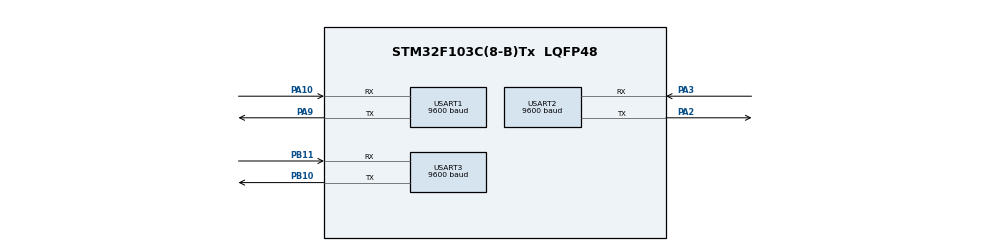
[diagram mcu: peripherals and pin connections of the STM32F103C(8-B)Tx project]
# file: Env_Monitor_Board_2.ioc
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Mcu.Family=STM32F1
Mcu.Name=STM32F103C(8-B)Tx
Mcu.Package=LQFP48
NVIC.PriorityGroup=NVIC_PRIORITYGROUP_4
NVIC.USART1_IRQn=true\:0\:0\:false\:false\:true\:true\:true\:true
NVIC.USART2_IRQn=true\:0\:0\:false\:false\:true\:true\:true\:true
NVIC.USART3_IRQn=true\:0\:0\:false\:false\:true\:true\:true\:true
PA10.Mode=Asynchronous
PA10.Signal=USART1_RX
PA2.Mode=Asynchronous
PA2.Signal=USART2_TX
PA3.Mode=Asynchronous
PA3.Signal=USART2_RX
PA9.Mode=Asynchronous
PA9.Signal=USART1_TX
PB10.Mode=Asynchronous
PB10.Signal=USART3_TX
PB11.Mode=Asynchronous
PB11.Signal=USART3_RX
ProjectManager.HeapSize=0x200
ProjectManager.StackSize=0x400
ProjectManager.TargetToolchain=STM32CubeIDE
RCC.APB1Freq_Value=8000000
RCC.APB2Freq_Value=8000000
USART1.BaudRate=9600
USART1.VirtualMode=VM_ASYNC
USART2.BaudRate=9600
USART2.VirtualMode=VM_ASYNC
USART3.BaudRate=9600
USART3.VirtualMode=VM_ASYNC
VP_SYS_VS_ND.Mode=No_Debug
board=custom

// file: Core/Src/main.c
/* USER CODE BEGIN Header */
/**
  ******************************************************************************
  * @file           : main.c
  * @brief          : Main program body for Board #2 (Central Hub)
  ******************************************************************************
  */
/* USER CODE END Header */

#include "main.h"
#include "hub.h"

UART_HandleTypeDef huart1; // Connection to Board #1
UART_HandleTypeDef huart2; // Connection to Python/COMPIM
UART_HandleTypeDef huart3; // Connection to PC CLI Terminal

/* USER CODE BEGIN PV */
uint8_t rxByte1; // Buffer for UART1 (Board #1 Telemetry) byte-by-byte receive interrupt
uint8_t rxByte2; // Buffer for UART2 (Python/COMPIM) byte-by-byte receive interrupt
uint8_t rxByte3; // Buffer for UART3 (PC Terminal CLI) byte-by-byte receive interrupt
/* USER CODE END PV */

void SystemClock_Config(void);
static void MX_GPIO_Init(void);
static void MX_USART1_UART_Init(void);
static void MX_USART2_UART_Init(void);
static void MX_USART3_UART_Init(void);

/* USER CODE BEGIN 0 */

/**
 * @brief Rx Transfer completed callbacks in non-blocking Interrupt Mode
 */
//void HAL_UART_RxCpltCallback(UART_HandleTypeDef *huart)
//{
//    if (huart->Instance == USART1)
//    {
//        HUB_ReceiveHandler(rxByte1, 1);
//
//        HAL_UART_Receive_IT(&huart1, &rxByte1, 1);
//    }
//    else if (huart->Instance == USART3)
//    {
//        HUB_ReceiveHandler(rxByte3, 3);
//
//        HAL_UART_Receive_IT(&huart3, &rxByte3, 1);
//    }
//    else if (huart->Instance == USART2) // Incoming from Python
//    {
////    	HUB_ReceiveHandler(rxByte2, 3);
////    	HAL_UART_Receive_IT(&huart2, &rxByte2, 1);
//        HAL_UART_Transmit(&huart1, &rxByte2, 1, 10);
//
//        HAL_UART_Receive_IT(&huart2, &rxByte2, 1);
//    }
//}
void HAL_UART_RxCpltCallback(UART_HandleTypeDef *huart)
{
    if (huart->Instance == USART1)
    {
        HUB_ReceiveHandler(rxByte1, 1);
        HAL_UART_Receive_IT(&huart1, &rxByte1, 1);
    }
    else if (huart->Instance == USART3)
    {
        HUB_ReceiveHandler(rxByte3, 3);
        HAL_UART_Receive_IT(&huart3, &rxByte3, 1);
    }
    else if (huart->Instance == USART2)
    {

        HUB_ReceiveHandler(rxByte2, 3);

        // Re-arm interrupt for Python UART
        HAL_UART_Receive_IT(&huart2, &rxByte2, 1);
    }
}
/* USER CODE END 0 */

int main(void)
{
  /* MCU Configuration--------------------------------------------------------*/
  HAL_Init();

  /* Configure the system clock */
  SystemClock_Config();

  /* Initialize all configured peripherals */
  MX_GPIO_Init();
  MX_USART1_UART_Init();
  MX_USART2_UART_Init();
  MX_USART3_UART_Init();

  /* USER CODE BEGIN 2 */
  // Initialize Central Hub
  HUB_Init(&huart1, &huart3, &huart2);

  HAL_UART_Receive_IT(&huart1, &rxByte1, 1);
  HAL_UART_Receive_IT(&huart2, &rxByte2, 1);
  HAL_UART_Receive_IT(&huart3, &rxByte3, 1);
  /* USER CODE END 2 */

  /* Infinite loop */
  /* USER CODE BEGIN WHILE */
  while (1)
  {
      // Non-blocking UI task handling updates, terminal input, and feedback timers
      HUB_Task();

    /* USER CODE END WHILE */

  }
}

void SystemClock_Config(void)
{
  RCC_OscInitTypeDef RCC_OscInitStruct = {0};
  RCC_ClkInitTypeDef RCC_ClkInitStruct = {0};

  RCC_OscInitStruct.OscillatorType = RCC_OSCILLATORTYPE_HSI;
  RCC_OscInitStruct.HSIState = RCC_HSI_ON;
  RCC_OscInitStruct.HSICalibrationValue = RCC_HSICALIBRATION_DEFAULT;
  RCC_OscInitStruct.PLL.PLLState = RCC_PLL_NONE;
  if (HAL_RCC_OscConfig(&RCC_OscInitStruct) != HAL_OK)
  {
    Error_Handler();
  }

  RCC_ClkInitStruct.ClockType = RCC_CLOCKTYPE_HCLK|RCC_CLOCKTYPE_SYSCLK
                              |RCC_CLOCKTYPE_PCLK1|RCC_CLOCKTYPE_PCLK2;
  RCC_ClkInitStruct.SYSCLKSource = RCC_SYSCLKSOURCE_HSI;
  RCC_ClkInitStruct.AHBCLKDivider = RCC_SYSCLK_DIV1;
  RCC_ClkInitStruct.APB1CLKDivider = RCC_HCLK_DIV1;
  RCC_ClkInitStruct.APB2CLKDivider = RCC_HCLK_DIV1;

  if (HAL_RCC_ClockConfig(&RCC_ClkInitStruct, FLASH_LATENCY_0) != HAL_OK)
  {
    Error_Handler();
  }
}

static void MX_USART1_UART_Init(void)
{
  huart1.Instance = USART1;
  huart1.Init.BaudRate = 9600;
  huart1.Init.WordLength = UART_WORDLENGTH_8B;
  huart1.Init.StopBits = UART_STOPBITS_1;
  huart1.Init.Parity = UART_PARITY_NONE;
  huart1.Init.Mode = UART_MODE_TX_RX;
  huart1.Init.HwFlowCtl = UART_HWCONTROL_NONE;
  huart1.Init.OverSampling = UART_OVERSAMPLING_16;
  if (HAL_UART_Init(&huart1) != HAL_OK)
  {
    Error_Handler();
  }
}

static void MX_USART2_UART_Init(void)
{
  huart2.Instance = USART2;
  huart2.Init.BaudRate = 9600;
  huart2.Init.WordLength = UART_WORDLENGTH_8B;
  huart2.Init.StopBits = UART_STOPBITS_1;
  huart2.Init.Parity = UART_PARITY_NONE;
  huart2.Init.Mode = UART_MODE_TX_RX;
  huart2.Init.HwFlowCtl = UART_HWCONTROL_NONE;
  huart2.Init.OverSampling = UART_OVERSAMPLING_16;
  if (HAL_UART_Init(&huart2) != HAL_OK)
  {
    Error_Handler();
  }
}

static void MX_USART3_UART_Init(void)
{
  huart3.Instance = USART3;
  huart3.Init.BaudRate = 9600;
  huart3.Init.WordLength = UART_WORDLENGTH_8B;
  huart3.Init.StopBits = UART_STOPBITS_1;
  huart3.Init.Parity = UART_PARITY_NONE;
  huart3.Init.Mode = UART_MODE_TX_RX;
  huart3.Init.HwFlowCtl = UART_HWCONTROL_NONE;
  huart3.Init.OverSampling = UART_OVERSAMPLING_16;
  if (HAL_UART_Init(&huart3) != HAL_OK)
  {
    Error_Handler();
  }
}

static void MX_GPIO_Init(void)
{
  __HAL_RCC_GPIOA_CLK_ENABLE();
  __HAL_RCC_GPIOB_CLK_ENABLE();
}

void Error_Handler(void)
{
  __disable_irq();
  while (1)
  {
  }
}
